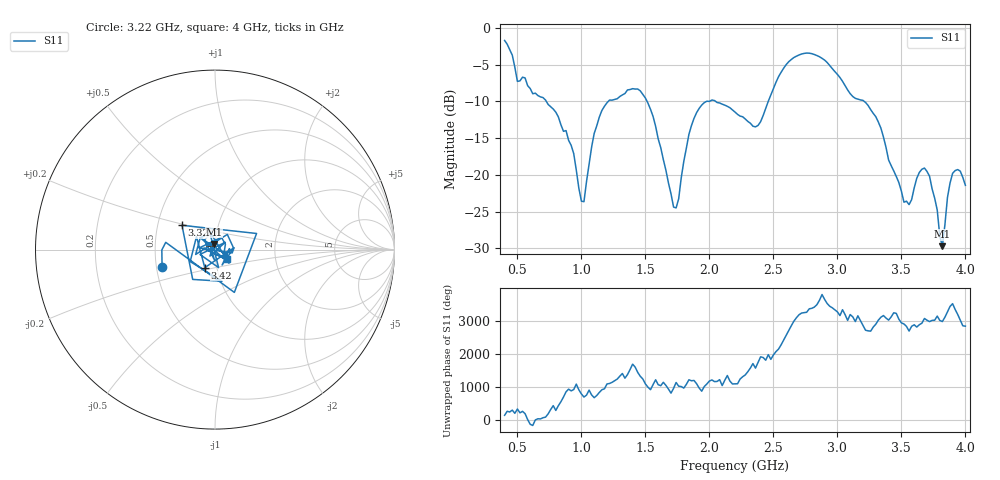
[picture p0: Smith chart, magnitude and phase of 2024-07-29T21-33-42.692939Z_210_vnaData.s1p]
!Created with skrf (http://scikit-rf.org).
# Hz S RI R 50.0
!freq ReS11 ImS11
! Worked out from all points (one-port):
!   181 points, 400 MHz to 4 GHz, reference 50 ohm
!   lowest |S11| = -29.7 dB at 3.82 GHz (marker M1), VSWR 1.07, Z = 49.3 + j3.16 ohm
!   |S11| at or under -10 dB: 725.4 MHz to 1.211 GHz (485.6 MHz wide, 50.2 % of centre); 1.513 GHz to 1.979 GHz (466.3 MHz wide, 26.7 % of centre); 3.208 GHz to end of sweep (the widest 3 of 5)
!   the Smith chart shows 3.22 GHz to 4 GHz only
!   S11 on the Smith chart (normalised r, x): 3.22 GHz: 0.54, -0.11; 3.32 GHz: 0.67, +0.19; 3.42 GHz: 0.88, -0.18; 4 GHz: 1.14, -0.12
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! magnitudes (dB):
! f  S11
! 400 MHz  -1.7
! 500 MHz  -7.3
! 860 MHz  -14.1
! 940 MHz  -17.1
! 1.02 GHz  -23.7
! 1.08 GHz  -16.2
! 1.14 GHz  -12.2
! 1.3 GHz  -9.4
! 1.5 GHz  -9.6
! 1.72 GHz  -24.4
! 1.76 GHz  -23.3
! 1.84 GHz  -14.5
! 1.92 GHz  -11.0
! 2.2 GHz  -11.5
! 2.38 GHz  -13.3
! 2.66 GHz  -4.0
! 2.88 GHz  -4.2
! 3.1 GHz  -9.0
! 3.22 GHz  -10.2
! 3.32 GHz  -12.8
! 3.42 GHz  -18.7
! 3.56 GHz  -24.1
! 3.68 GHz  -19.1
! 3.76 GHz  -23.2
! 3.82 GHz  -29.7
! 3.86 GHz  -23.1
! 3.9 GHz  -19.8
! 4 GHz  -21.4
